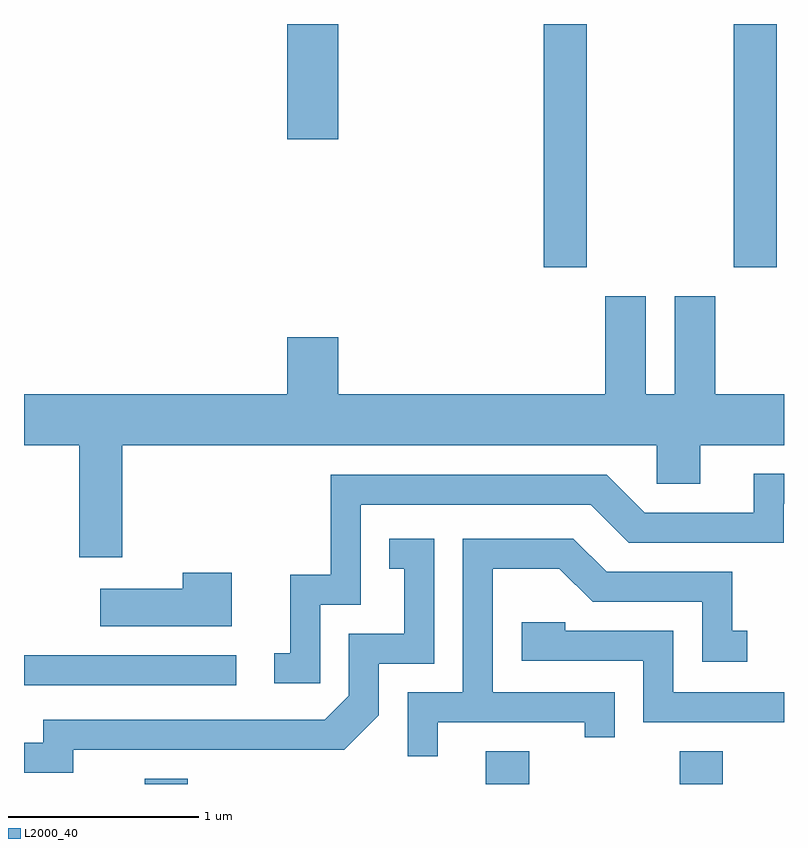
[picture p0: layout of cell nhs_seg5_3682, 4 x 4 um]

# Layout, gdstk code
import gdstk
lib = gdstk.Library(unit=1e-6, precision=1e-09)
def R(c, l, rs):  # rectangles x0, y0, x1, y1
    for r in rs: c.add(gdstk.rectangle(r[:2], r[2:], *l))
def P(c, l, *ps):  # polygons
    for p in ps: c.add(gdstk.Polygon(p, *l))
L2000_40 = (2000, 40)

nhs_seg5_3682 = lib.new_cell('nhs_seg5_3682')
R(nhs_seg5_3682, L2000_40, [(294.246,1506.072,294.474,1506.099), (296.041,1506.072,296.269,1506.244), (297.061,1506.072,297.289,1506.244), (293.611,1506.591,294.728,1506.749), (296.346,1508.791,296.574,1510.072), (297.346,1508.791,297.574,1510.072), (294.996,1509.466,295.264,1510.072)])
P(nhs_seg5_3682, L2000_40, [(294.129,1507.856),(296.941,1507.856),(296.941,1507.651),(297.169,1507.651),(297.169,1507.856),(297.611,1507.856),(297.611,1508.124),(297.249,1508.124),(297.249,1508.639),(297.036,1508.639),(297.036,1508.124),(296.884,1508.124),(296.884,1508.639),(296.671,1508.639),(296.671,1508.124),(295.264,1508.124),(295.264,1508.424),(294.996,1508.424),(294.996,1508.124),(293.611,1508.124),(293.611,1507.856),(293.901,1507.856),(293.901,1507.266),(294.129,1507.266)],
  [(295.169,1507.016),(295.384,1507.016),(295.384,1507.541),(296.594,1507.541),(296.794,1507.341),(297.609,1507.341),(297.609,1507.546),(297.611,1507.546),(297.611,1507.704),(297.451,1507.704),(297.451,1507.499),(296.877,1507.499),(296.677,1507.699),(295.226,1507.699),(295.226,1507.174),(295.011,1507.174),(295.011,1506.759),(294.928,1506.759),(294.928,1506.601),(295.169,1506.601)],
  [(295.789,1506.396),(296.561,1506.396),(296.561,1506.318),(296.719,1506.318),(296.719,1506.554),(296.079,1506.554),(296.079,1507.206),(296.429,1507.206),(296.604,1507.031),(297.181,1507.031),(297.181,1506.716),(297.418,1506.716),(297.418,1506.879),(297.339,1506.879),(297.339,1507.189),(296.677,1507.189),(296.502,1507.364),(295.921,1507.364),(295.921,1506.554),(295.631,1506.554),(295.631,1506.218),(295.789,1506.218)],
  [(293.869,1506.251),(295.297,1506.251),(295.479,1506.434),(295.479,1506.706),(295.769,1506.706),(295.769,1507.364),(295.533,1507.364),(295.533,1507.206),(295.611,1507.206),(295.611,1506.864),(295.321,1506.864),(295.321,1506.537),(295.194,1506.409),(293.711,1506.409),(293.711,1506.289),(293.611,1506.289),(293.611,1506.131),(293.869,1506.131)],
  [(294.704,1507.184),(294.446,1507.184),(294.446,1507.099),(294.011,1507.099),(294.011,1506.901),(294.704,1506.901)],
  [(297.611,1506.554),(297.029,1506.554),(297.029,1506.879),(296.459,1506.879),(296.459,1506.924),(296.231,1506.924),(296.231,1506.721),(296.871,1506.721),(296.871,1506.396),(297.611,1506.396)])

lib.write_gds('nhs_seg5_3682.gds')
